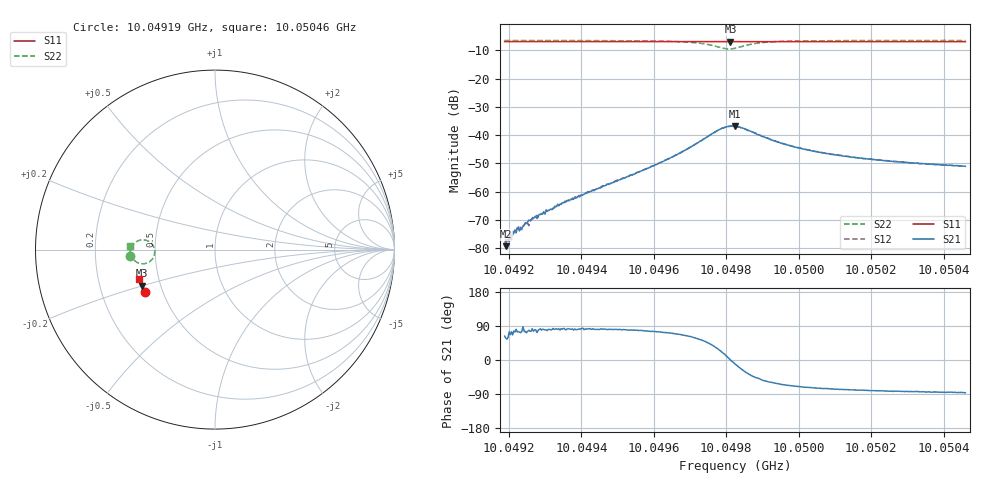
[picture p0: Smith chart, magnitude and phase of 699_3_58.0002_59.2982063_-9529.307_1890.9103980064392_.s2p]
#  HZ  S  RI  R  50.00
! Rohde & Schwarz Vector Network Analyzer
! Rohde-Schwarz,ZNB20-2Port,1311601062101988,3.16
! Created: UTC 3/21/2024, 1:21:42 AM
! freq[Hz]  re:S11  im:S11  re:S21  im:S21  re:S12  im:S12  re:S22  im:S22
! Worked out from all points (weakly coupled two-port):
!   401 points, 10.04919 GHz to 10.05046 GHz, reference 50 ohm
!   highest |S21| = -36.75 dB at 10.04982 GHz (marker M1); lowest = -79.3 dB at 10.04919 GHz (marker M2)
!   lowest |S11| = -6.9 dB at 10.04981 GHz (marker M3), VSWR 2.65, Z = 19.8 - j9.93 ohm
!   |S11| at or under -10 dB: nowhere
!   |S22| runs from -9.5 to -6.5 dB; largest |S21 - S12| = 0.0011
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1.0049188e10  -0.3879 -0.2368  5.02e-05 9.87e-05  5.97e-05 9.96e-05  -0.4736 -0.0365
1.0049191e10  -0.3879 -0.2365  5.73e-05 9.16e-05  6.23e-05 0.00013  -0.4735 -0.0361
1.0049201e10  -0.3883 -0.236  4.08e-05 0.000148  5.36e-05 0.000118  -0.4736 -0.035
1.0049211e10  -0.3885 -0.2356  6.94e-05 0.000157  4.8e-05 0.000192  -0.4736 -0.0344
1.004922e10  -0.3889 -0.235  2.89e-05 0.000184  3.55e-05 0.000195  -0.4735 -0.0337
1.0049236e10  -0.3895 -0.234  5.45e-05 0.000217  4.98e-05 0.000206  -0.4736 -0.032
1.0049258e10  -0.3902 -0.2328  7.54e-05 0.000301  6.32e-05 0.000282  -0.4735 -0.03
1.0049271e10  -0.3906 -0.232  6.29e-05 0.000348  5.47e-05 0.000338  -0.4735 -0.0288
1.0049341e10  -0.3929 -0.2279  0.000114 0.000585  4.9e-05 0.000594  -0.4731 -0.0219
1.0049401e10  -0.3947 -0.2245  0.000105 0.000867  7.89e-05 0.000848  -0.4725 -0.0151
1.0049614e10  -0.4011 -0.2116  0.000868 0.00306  0.000689 0.00313  -0.462 0.0188
1.0049678e10  -0.4027 -0.2077  0.00202 0.00462  0.00179 0.00474  -0.4482 0.0363
1.0049754e10  -0.4045 -0.2029  0.00728 0.0068  0.00691 0.00716  -0.3942 0.0539
1.0049789e10  -0.4049 -0.201  0.0126 0.0045  0.0121 0.00534  -0.348 0.0265
1.0049812e10  -0.4051 -0.2  0.0144 8.98e-05  0.0144 0.00104  -0.3359 -0.0165
1.0049824e10  -0.4055 -0.1995  0.0143 -0.00269  0.0141 -0.00156  -0.3425 -0.0418
1.0049856e10  -0.4066 -0.1983  0.0104 -0.00695  0.0108 -0.00621  -0.384 -0.0765
1.0049901e10  -0.4083 -0.1957  0.00563 -0.00759  0.00611 -0.00722  -0.4303 -0.073
1.0049958e10  -0.41 -0.1922  0.00296 -0.00639  0.00337 -0.00621  -0.4555 -0.054
1.0050037e10  -0.4123 -0.1873  0.0015 -0.00503  0.00183 -0.00496  -0.4674 -0.0338
1.005025e10  -0.4177 -0.1743  0.000469 -0.00343  0.000687 -0.00342  -0.4743 -0.00272
1.005046e10  -0.4225 -0.1614  0.000171 -0.0028  0.000387 -0.00277  -0.4749 0.0176
